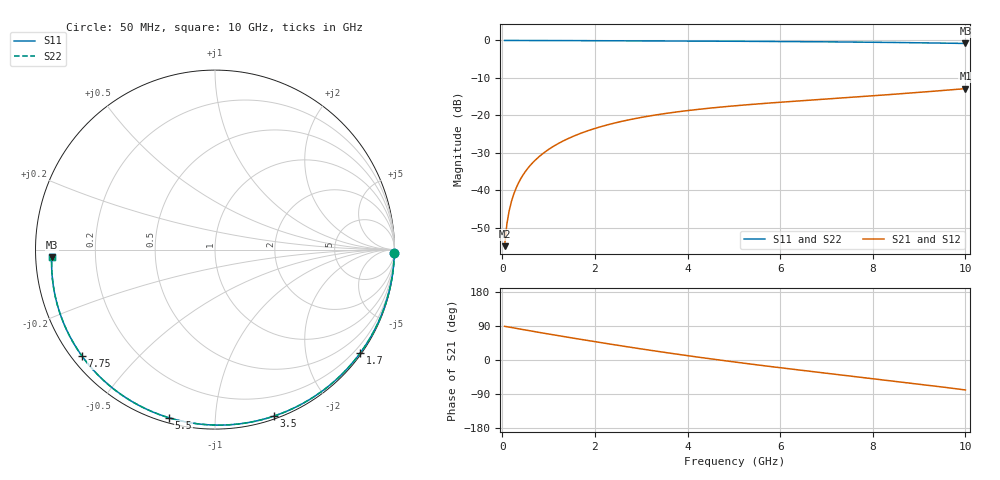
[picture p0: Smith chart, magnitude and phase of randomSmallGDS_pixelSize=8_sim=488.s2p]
! freq	dB(S11)	phase(S11)	dB(S12)	phase(S12)
!  dB(S21)	phase(S21)	dB(S22)	phase(S22)
!S-par simulation data
#  GHz  S  DB  R 50
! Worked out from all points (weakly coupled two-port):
!   200 points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, 50 MHz to 10 GHz, reference 50 ohm
!   highest |S21| = -12.86 dB at 10 GHz (marker M1); lowest = -54.9 dB at 50 MHz (marker M2)
!   lowest |S11| = -0.8 dB at 10 GHz (marker M3), VSWR 21.45, Z = 2.33 - j1.16 ohm
!   |S11| at or under -10 dB: nowhere
!   |S22| runs from -0.8 to 0.0 dB; largest |S21 - S12| = 0
!   S11 on the Smith chart (normalised r, x): 50 MHz: open; 1.7 GHz: 0.04, -3.13; 3.5 GHz: 0.02, -1.42; 5.5 GHz: 0.02, -0.76; 7.75 GHz: 0.03, -0.35; 10 GHz: 0.05, -0.02
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0.05  -0.01 -1.1  -54.89 88.9  -54.89 88.9  -0.01 -1.1
0.1  -0.01 -2.1  -48.88 87.8  -48.88 87.8  -0.01 -2.1
0.15  -0.01 -3.2  -45.36 86.7  -45.36 86.7  -0.01 -3.2
0.2  -0.01 -4.2  -42.86 85.6  -42.86 85.6  -0.01 -4.2
0.3  -0.01 -6.4  -39.35 83.4  -39.35 83.4  -0.01 -6.4
0.45  -0.01 -9.5  -35.86 80.2  -35.86 80.2  -0.01 -9.5
0.65  -0.02 -13.7  -32.71 75.9  -32.71 75.9  -0.02 -13.7
0.95  -0.03 -20.0  -29.51 69.6  -29.51 69.6  -0.03 -20.0
1.3  -0.04 -27.3  -26.91 62.4  -26.91 62.4  -0.04 -27.3
1.7  -0.06 -35.5  -24.75 54.3  -24.75 54.3  -0.06 -35.5
1.75  -0.06 -36.5  -24.52 53.3  -24.52 53.3  -0.06 -36.5
2.6  -0.10 -53.3  -21.54 36.7  -21.54 36.7  -0.10 -53.3
3.4  -0.13 -68.5  -19.72 22.0  -19.72 22.0  -0.13 -68.5
3.5  -0.14 -70.4  -19.54 20.2  -19.54 20.2  -0.14 -70.4
4.25  -0.18 -84.0  -18.37 7.2  -18.37 7.2  -0.18 -84.0
5.05  -0.22 -97.8  -17.41 -5.8  -17.41 -5.8  -0.22 -97.8
5.5  -0.25 -105.4  -16.96 -12.8  -16.96 -12.8  -0.25 -105.4
6.7  -0.35 -124.8  -15.89 -30.6  -15.89 -30.6  -0.35 -124.8
7.75  -0.45 -141.4  -14.99 -45.6  -14.99 -45.6  -0.45 -141.4
8.35  -0.53 -150.8  -14.46 -54.1  -14.46 -54.1  -0.53 -150.8
9.2  -0.66 -164.3  -13.66 -66.7  -13.66 -66.7  -0.66 -164.3
10  -0.81 -177.3  -12.86 -79.1  -12.86 -79.1  -0.81 -177.3
